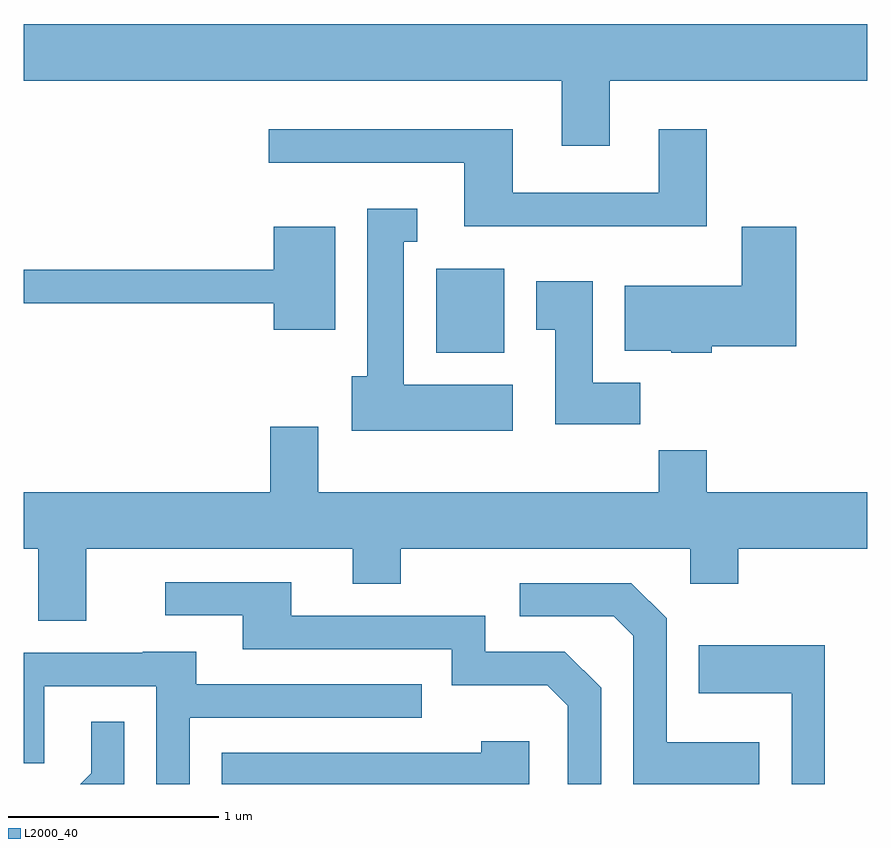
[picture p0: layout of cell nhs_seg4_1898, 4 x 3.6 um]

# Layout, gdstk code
import gdstk
lib = gdstk.Library(unit=1e-6, precision=1e-09)
def R(c, l, rs):  # rectangles x0, y0, x1, y1
    for r in rs: c.add(gdstk.rectangle(r[:2], r[2:], *l))
def P(c, l, *ps):  # polygons
    for p in ps: c.add(gdstk.Polygon(p, *l))
L2000_40 = (2000, 40)

nhs_seg4_1898 = lib.new_cell('nhs_seg4_1898')
R(nhs_seg4_1898, L2000_40, [(241.566,1380.026,241.889,1380.424)])
P(nhs_seg4_1898, L2000_40, [(242.389,1381.316),(243.611,1381.316),(243.611,1381.584),(239.611,1381.584),(239.611,1381.316),(242.161,1381.316),(242.161,1381.006),(242.389,1381.006)],
  [(242.849,1381.084),(242.621,1381.084),(242.621,1380.784),(241.929,1380.784),(241.929,1381.084),(240.773,1381.084),(240.773,1380.926),(241.701,1380.926),(241.701,1380.626),(242.849,1380.626)],
  [(241.929,1379.874),(241.414,1379.874),(241.414,1380.551),(241.478,1380.551),(241.478,1380.709),(241.241,1380.709),(241.241,1379.914),(241.166,1379.914),(241.166,1379.656),(241.929,1379.656)],
  [(241.089,1380.624),(240.796,1380.624),(240.796,1380.419),(239.611,1380.419),(239.611,1380.261),(240.796,1380.261),(240.796,1380.136),(241.089,1380.136)],
  [(242.874,1380.056),(243.274,1380.056),(243.274,1380.624),(243.016,1380.624),(243.016,1380.344),(242.461,1380.344),(242.461,1380.036),(242.68,1380.036),(242.68,1380.026),(242.874,1380.026)],
  [(242.534,1379.884),(242.309,1379.884),(242.309,1380.364),(242.041,1380.364),(242.041,1380.136),(242.131,1380.136),(242.131,1379.686),(242.534,1379.686)],
  [(239.909,1379.096),(241.171,1379.096),(241.171,1378.931),(241.399,1378.931),(241.399,1379.096),(242.771,1379.096),(242.771,1378.931),(242.999,1378.931),(242.999,1379.096),(243.611,1379.096),(243.611,1379.364),(242.849,1379.364),(242.849,1379.564),(242.621,1379.564),(242.621,1379.364),(241.009,1379.364),(241.009,1379.674),(240.781,1379.674),(240.781,1379.364),(239.611,1379.364),(239.611,1379.096),(239.681,1379.096),(239.681,1378.756),(239.909,1378.756)],
  [(242.349,1378.437),(242.177,1378.609),(241.799,1378.609),(241.799,1378.779),(240.879,1378.779),(240.879,1378.939),(240.283,1378.939),(240.283,1378.781),(240.651,1378.781),(240.651,1378.621),(241.641,1378.621),(241.641,1378.451),(242.094,1378.451),(242.191,1378.354),(242.191,1377.982),(242.349,1377.982)],
  [(243.099,1378.179),(242.659,1378.179),(242.659,1378.767),(242.492,1378.934),(241.963,1378.934),(241.963,1378.776),(242.409,1378.776),(242.501,1378.684),(242.501,1377.982),(243.099,1377.982)],
  [(243.409,1378.639),(242.811,1378.639),(242.811,1378.411),(243.251,1378.411),(243.251,1377.982),(243.409,1377.982)],
  [(240.399,1378.296),(241.498,1378.296),(241.498,1378.454),(240.429,1378.454),(240.429,1378.609),(240.175,1378.609),(240.175,1378.604),(239.611,1378.604),(239.611,1378.081),(239.709,1378.081),(239.709,1378.446),(240.241,1378.446),(240.241,1377.982),(240.399,1377.982)],
  [(240.089,1378.278),(239.931,1378.278),(239.931,1378.032),(239.881,1377.982),(240.089,1377.982)],
  [(242.009,1378.184),(241.781,1378.184),(241.781,1378.129),(240.551,1378.129),(240.551,1377.982),(242.009,1377.982)])

lib.write_gds('nhs_seg4_1898.gds')
